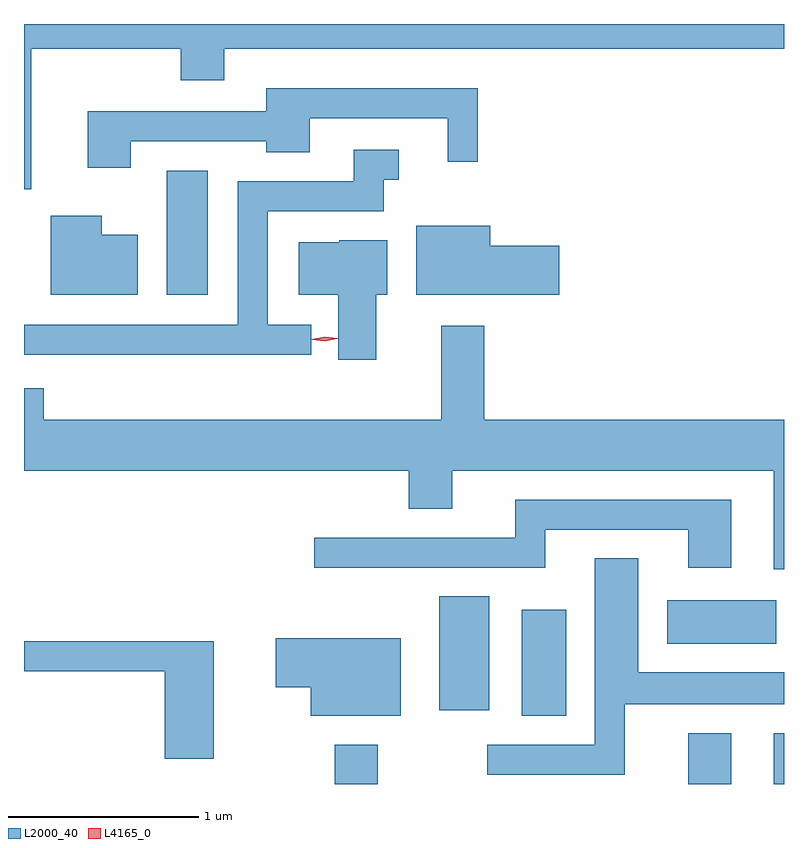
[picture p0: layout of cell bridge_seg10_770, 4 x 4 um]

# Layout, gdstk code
import gdstk
lib = gdstk.Library(unit=1e-6, precision=1e-09)
def R(c, l, rs):  # rectangles x0, y0, x1, y1
    for r in rs: c.add(gdstk.rectangle(r[:2], r[2:], *l))
def P(c, l, *ps):  # polygons
    for p in ps: c.add(gdstk.Polygon(p, *l))
L2000_40 = (2000, 40)
L4165_0 = (4165, 0)

bridge_seg10_770 = lib.new_cell('bridge_seg10_770')
R(bridge_seg10_770, L2000_40, [(445.191,2172.207,445.419,2172.414), (447.051,2172.207,447.279,2172.474), (447.501,2172.207,447.556,2172.474), (446.176,2172.566,446.409,2173.124), (445.741,2172.596,446.004,2173.194), (446.941,2172.946,447.514,2173.174), (444.306,2174.781,444.524,2175.434)])
P(bridge_seg10_770, L2000_40, [(443.594,2176.076),(444.381,2176.076),(444.381,2175.911),(444.609,2175.911),(444.609,2176.076),(447.556,2176.076),(447.556,2176.207),(443.556,2176.207),(443.556,2175.338),(443.594,2175.338)],
  [(444.119,2175.591),(444.831,2175.591),(444.831,2175.531),(445.059,2175.531),(445.059,2175.711),(445.786,2175.711),(445.786,2175.483),(445.944,2175.483),(445.944,2175.869),(444.831,2175.869),(444.831,2175.749),(443.891,2175.749),(443.891,2175.451),(444.119,2175.451)],
  [(445.068,2174.624),(444.839,2174.624),(444.839,2175.221),(445.449,2175.221),(445.449,2175.386),(445.528,2175.386),(445.528,2175.544),(445.291,2175.544),(445.291,2175.379),(444.681,2175.379),(444.681,2174.624),(443.556,2174.624),(443.556,2174.466),(445.068,2174.466)],
  [(444.154,2175.099),(443.964,2175.099),(443.964,2175.199),(443.696,2175.199),(443.696,2174.781),(444.154,2174.781)],
  [(446.374,2175.039),(446.009,2175.039),(446.009,2175.144),(445.621,2175.144),(445.621,2174.781),(446.374,2174.781)],
  [(445.409,2174.781),(445.469,2174.781),(445.469,2175.069),(445.215,2175.069),(445.215,2175.059),(445.001,2175.059),(445.001,2174.781),(445.211,2174.781),(445.211,2174.441),(445.409,2174.441)],
  [(447.556,2174.124),(445.979,2174.124),(445.979,2174.619),(445.751,2174.619),(445.751,2174.124),(443.659,2174.124),(443.659,2174.289),(443.556,2174.289),(443.556,2173.856),(445.581,2173.856),(445.581,2173.656),(445.809,2173.656),(445.809,2173.856),(447.501,2173.856),(447.501,2173.336),(447.556,2173.336)],
  [(446.299,2173.546),(447.051,2173.546),(447.051,2173.346),(447.279,2173.346),(447.279,2173.704),(446.141,2173.704),(446.141,2173.504),(445.083,2173.504),(445.083,2173.346),(446.299,2173.346)],
  [(446.719,2172.626),(447.556,2172.626),(447.556,2172.794),(446.789,2172.794),(446.789,2173.394),(446.561,2173.394),(446.561,2172.414),(445.993,2172.414),(445.993,2172.256),(446.719,2172.256)],
  [(445.539,2172.974),(444.881,2172.974),(444.881,2172.716),(445.066,2172.716),(445.066,2172.566),(445.539,2172.566)],
  [(444.554,2172.959),(443.556,2172.959),(443.556,2172.801),(444.296,2172.801),(444.296,2172.341),(444.554,2172.341)])
P(bridge_seg10_770, L4165_0, [(445.139,2174.54),(445.07,2174.547),(445.069,2174.548),(445.07,2174.548),(445.138,2174.56),(445.207,2174.553),(445.207,2174.552),(445.207,2174.552)],
  [(445.139,2174.538),(445.073,2174.545),(445.073,2174.545),(445.073,2174.546),(445.138,2174.557),(445.204,2174.55),(445.205,2174.55),(445.204,2174.55)])

lib.write_gds('bridge_seg10_770.gds')
